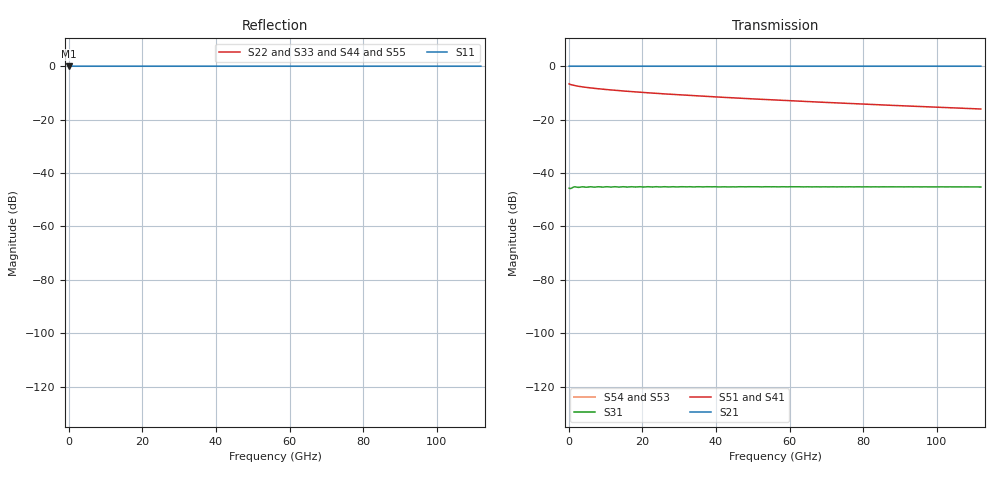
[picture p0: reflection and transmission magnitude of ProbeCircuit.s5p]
! File created by SignalIntegrity v1.3.3: Signal and Power Integrity Tools
! https://github.com/TeledyneLeCroy/SignalIntegrity
# MHz S MA R 50.0
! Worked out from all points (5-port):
!   1120 points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, 100 MHz to 112 GHz, reference 50 ohm
!   strongest paths, dB at 100 MHz, 28.1 GHz, 56.1 GHz, 84.1 GHz, 112 GHz:
!     S21: 0.0, 0.0, 0.0, 0.0, 0.0
!     S51: -6.6, -10.6, -12.7, -14.4, -16.0
!     S41: -6.6, -10.6, -12.7, -14.4, -16.0
!     S31: -45.7, -45.2, -45.2, -45.2, -45.2
!     S54: -, -, -, -, -
!     S53: -, -, -, -, -
!   lowest |S11| = 0.0 dB at 100 MHz (marker M1)
!   |S11| at or under -10 dB: nowhere
